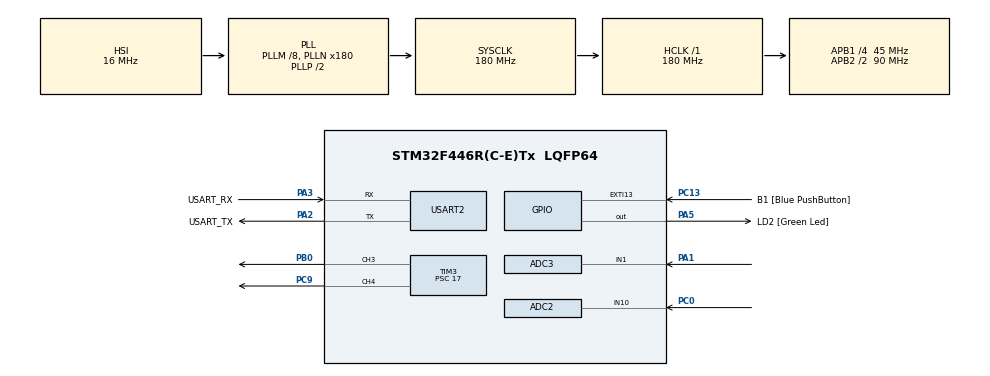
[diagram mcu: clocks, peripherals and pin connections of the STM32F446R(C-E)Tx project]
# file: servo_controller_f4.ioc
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ADC2.Channel-1\#ChannelRegularConversion=ADC_CHANNEL_10
ADC2.ClockPrescaler=ADC_CLOCK_SYNC_PCLK_DIV8
ADC2.NbrOfConversionFlag=1
ADC2.Rank-1\#ChannelRegularConversion=1
ADC2.SamplingTime-1\#ChannelRegularConversion=ADC_SAMPLETIME_480CYCLES
ADC3.Channel-1\#ChannelRegularConversion=ADC_CHANNEL_1
ADC3.ClockPrescaler=ADC_CLOCK_SYNC_PCLK_DIV8
ADC3.NbrOfConversion=1
ADC3.NbrOfConversionFlag=1
ADC3.Rank-1\#ChannelRegularConversion=1
ADC3.SamplingTime-1\#ChannelRegularConversion=ADC_SAMPLETIME_480CYCLES
Mcu.Family=STM32F4
Mcu.Name=STM32F446R(C-E)Tx
Mcu.Package=LQFP64
NVIC.PriorityGroup=NVIC_PRIORITYGROUP_0
PA1.Signal=ADCx_IN1
PA13.GPIO_Label=TMS
PA13.Mode=Serial_Wire
PA13.Signal=SYS_JTMS-SWDIO
PA14.GPIO_Label=TCK
PA14.Mode=Serial_Wire
PA14.Signal=SYS_JTCK-SWCLK
PA2.GPIO_Label=USART_TX
PA2.Mode=Asynchronous
PA2.Signal=USART2_TX
PA3.GPIO_Label=USART_RX
PA3.Mode=Asynchronous
PA3.Signal=USART2_RX
PA5.GPIO_Label=LD2 [Green Led]
PA5.Signal=GPIO_Output
PB0.Signal=S_TIM3_CH3
PB3.GPIO_Label=SWO
PB3.Signal=SYS_JTDO-SWO
PC0.Signal=ADCx_IN10
PC13.GPIO_Label=B1 [Blue PushButton]
PC13.GPIO_ModeDefaultEXTI=GPIO_MODE_IT_FALLING
PC13.Signal=GPXTI13
PC14-OSC32_IN.Mode=LSE-External-Oscillator
PC14-OSC32_IN.Signal=RCC_OSC32_IN
PC15-OSC32_OUT.Mode=LSE-External-Oscillator
PC15-OSC32_OUT.Signal=RCC_OSC32_OUT
PC9.Signal=S_TIM3_CH4
PH0-OSC_IN.Mode=HSE-External-Oscillator
PH0-OSC_IN.Signal=RCC_OSC_IN
PH1-OSC_OUT.Mode=HSE-External-Oscillator
PH1-OSC_OUT.Signal=RCC_OSC_OUT
ProjectManager.HeapSize=0x200
ProjectManager.StackSize=0x400
ProjectManager.TargetToolchain=STM32CubeIDE
RCC.48MHZClocksFreq_Value=84000000
RCC.AHBFreq_Value=180000000
RCC.APB1CLKDivider=RCC_HCLK_DIV4
RCC.APB1Freq_Value=45000000
RCC.APB1TimFreq_Value=90000000
RCC.APB2CLKDivider=RCC_HCLK_DIV2
RCC.APB2Freq_Value=90000000
RCC.APB2TimFreq_Value=180000000
RCC.CortexFreq_Value=180000000
RCC.FLatency-AdvancedSettings=FLASH_LATENCY_5
RCC.HCLKFreq_Value=180000000
RCC.HSE_VALUE=8000000
RCC.HSI_VALUE=16000000
RCC.PLLM=8
RCC.PLLN=180
RCC.SYSCLKFreq_VALUE=180000000
RCC.SYSCLKSource=RCC_SYSCLKSOURCE_PLLCLK
RCC.USBFreq_Value=180000000
RCC.VCOOutputFreq_Value=360000000
SH.ADCx_IN1.0=ADC3_IN1,IN1
SH.ADCx_IN10.0=ADC2_IN10,IN10
SH.S_TIM3_CH3.0=TIM3_CH3,PWM Generation3 CH3
SH.S_TIM3_CH4.0=TIM3_CH4,PWM Generation4 CH4
TIM3.Channel-PWM\ Generation3\ CH3=TIM_CHANNEL_3
TIM3.Channel-PWM\ Generation4\ CH4=TIM_CHANNEL_4
TIM3.Period=9999
TIM3.Prescaler=17
USART2.VirtualMode=VM_ASYNC
board=NUCLEO-F446RE

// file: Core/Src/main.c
/* USER CODE BEGIN Header */
/**
  ******************************************************************************
  * @file           : main.c
  * @brief          : Main program body
  ******************************************************************************
  * @attention
  *
  * <h2><center>&copy; Copyright (c) 2020 STMicroelectronics.
  * All rights reserved.</center></h2>
  *
  * This software component is licensed by ST under BSD 3-Clause license,
  * the "License"; You may not use this file except in compliance with the
  * License. You may obtain a copy of the License at:
  *                        opensource.org/licenses/BSD-3-Clause
  *
  ******************************************************************************
  */
/* USER CODE END Header */

#include "main.h"

/* USER CODE BEGIN Includes */

#include <string.h>
#include <stdio.h>
#include <math.h>
#include <stdlib.h>

#include "pid_controller.h"

/* USER CODE END Includes */

ADC_HandleTypeDef hadc2;
ADC_HandleTypeDef hadc3;

TIM_HandleTypeDef htim3;

UART_HandleTypeDef huart2;

/* USER CODE BEGIN PV */

char uart_msg[300];

uint16_t PomiarADC_motor_trimmer;
uint16_t PomiarADC_Servo_potentiometer;

// set and reached servo angle variable
uint16_t set_servo_angle = 0; // 0 - 180 deg
uint16_t reached_servo_angle = 0;

// pid controller struct
PIDControl pid_controller;

/* USER CODE END PV */

void SystemClock_Config(void);
static void MX_GPIO_Init(void);
static void MX_USART2_UART_Init(void);
static void MX_TIM3_Init(void);
static void MX_ADC2_Init(void);
static void MX_ADC3_Init(void);

int main(void)
{

  /* MCU Configuration--------------------------------------------------------*/

  /* Reset of all peripherals, Initializes the Flash interface and the Systick. */
  HAL_Init();

  /* Configure the system clock */
  SystemClock_Config();

  /* Initialize all configured peripherals */
  MX_GPIO_Init();
  MX_USART2_UART_Init();
  MX_TIM3_Init();
  MX_ADC2_Init();
  MX_ADC3_Init();
  /* USER CODE BEGIN 2 */

  // start adc to get trimmer motor control
  HAL_ADC_Start(&hadc3);

  // potentiometer servo adc start
  HAL_ADC_Start(&hadc2);

  // start pwm motor first direction
  HAL_TIM_PWM_Start(&htim3, TIM_CHANNEL_3);

  // start pwm motor reverse direction
  HAL_TIM_PWM_Start(&htim3, TIM_CHANNEL_4);

  // set defult duty value
  TIM3->CCR3 = 0;
  TIM3->CCR4 = 0;

  /* USER CODE END 2 */

  /* Infinite loop */
  /* USER CODE BEGIN WHILE */
  while (1)
  {
	    // poll for adc servo potentiometer
		if (HAL_ADC_PollForConversion(&hadc2, 10) == HAL_OK) {

			// get servo position form servo potentiometer
			PomiarADC_Servo_potentiometer = HAL_ADC_GetValue(&hadc2);
			HAL_ADC_Start(&hadc2);

			// calculate reached angle
			reached_servo_angle = 180.0 * (((float) PomiarADC_Servo_potentiometer - 300.0) / 3350.0);

		}

//		  // check if we are in range of servo motion
//		  if((PomiarADC_Servo_potentiometer < 300) || (PomiarADC_Servo_potentiometer > 3650)){
//
//			  sprintf(uart_msg, "Servo ERROR!!!\r\n");
//			  HAL_UART_Transmit(&huart2, (uint8_t*) uart_msg, strlen(uart_msg), 10);
//
//			  // stop servo motor
//			  TIM3->CCR4 = 0;
//			  TIM3->CCR3 = 0;
//
//
//			  continue;
//
//		  }

	    // poll for adc adc control trimmer value
		if (HAL_ADC_PollForConversion(&hadc3, 10) == HAL_OK) {

			// get control trimmer adc value
			PomiarADC_motor_trimmer = HAL_ADC_GetValue(&hadc3);
			HAL_ADC_Start(&hadc3);

			set_servo_angle = 180.0 * ((float) PomiarADC_motor_trimmer / 4095.0);

//				sprintf(uart_msg, "Servo reached angle: %d | Trimmer set angle: %d\r\n", reached_servo_angle, set_servo_angle);
//			    HAL_UART_Transmit(&huart2, (uint8_t*) uart_msg, strlen(uart_msg), 10);

		}

		/**************** PID controller ****************************/

		// init pid controller
		PIDInit(&pid_controller, 2.71, 27.1, 0, 0.001, -10000, 10000, AUTOMATIC, DIRECT);

		// pid controller implementation
		float gain = 1000;

		int16_t e = 0; // uchyb
		float sterowanie = 0; // wartosc wypelnienia pwm do sterowania

		const float Kp = 2.71;
		const float Ki = 27.1;

		// closed loop control
		if (set_servo_angle != reached_servo_angle) {

			// calculate uchyb
//			e = (set_servo_angle - reached_servo_angle);

//			sterowanie = gain * e; // proste sterowanie wzmocnieniem

			// set set value
			PIDSetpointSet(&pid_controller, (float)set_servo_angle);

			// set reached servo angle
			PIDInputSet(&pid_controller, (float)reached_servo_angle);

			//compute pid control value
			PIDCompute(&pid_controller);

			// get pid control value
			float pid_control_value = PIDOutputGet(&pid_controller);

			sterowanie = gain*pid_control_value; // proste sterowanie wzmocnieniem

			sprintf(uart_msg, "%d\t%d\t%f\r\n", reached_servo_angle, set_servo_angle, sterowanie);
			HAL_UART_Transmit(&huart2, (uint8_t*) uart_msg, strlen(uart_msg), 10);

			if (sterowanie > 0) {
				TIM3->CCR3 = 0;
				if(abs(sterowanie) > 10000) { sterowanie = 10000; }
				TIM3->CCR4 = abs(sterowanie);
			} else if (sterowanie < 0) {
				if(abs(sterowanie) > 10000) { sterowanie = 10000; }
				TIM3->CCR3 = abs(sterowanie);
				TIM3->CCR4 = 0;
			}

		} else {
			TIM3->CCR3 = 0;
			TIM3->CCR4 = 0;
		}

		/**************** PID controller ****************************/

	    HAL_GPIO_TogglePin(LD2_GPIO_Port, LD2_Pin);

	    // control time interval
		HAL_Delay(1);

    /* USER CODE END WHILE */

  }
}

void SystemClock_Config(void)
{
  RCC_OscInitTypeDef RCC_OscInitStruct = {0};
  RCC_ClkInitTypeDef RCC_ClkInitStruct = {0};

  /** Configure the main internal regulator output voltage
  */
  __HAL_RCC_PWR_CLK_ENABLE();
  __HAL_PWR_VOLTAGESCALING_CONFIG(PWR_REGULATOR_VOLTAGE_SCALE1);
  /** Initializes the CPU, AHB and APB busses clocks
  */
  RCC_OscInitStruct.OscillatorType = RCC_OSCILLATORTYPE_HSI;
  RCC_OscInitStruct.HSIState = RCC_HSI_ON;
  RCC_OscInitStruct.HSICalibrationValue = RCC_HSICALIBRATION_DEFAULT;
  RCC_OscInitStruct.PLL.PLLState = RCC_PLL_ON;
  RCC_OscInitStruct.PLL.PLLSource = RCC_PLLSOURCE_HSI;
  RCC_OscInitStruct.PLL.PLLM = 8;
  RCC_OscInitStruct.PLL.PLLN = 180;
  RCC_OscInitStruct.PLL.PLLP = RCC_PLLP_DIV2;
  RCC_OscInitStruct.PLL.PLLQ = 2;
  RCC_OscInitStruct.PLL.PLLR = 2;
  if (HAL_RCC_OscConfig(&RCC_OscInitStruct) != HAL_OK)
  {
    Error_Handler();
  }
  /** Activate the Over-Drive mode
  */
  if (HAL_PWREx_EnableOverDrive() != HAL_OK)
  {
    Error_Handler();
  }
  /** Initializes the CPU, AHB and APB busses clocks
  */
  RCC_ClkInitStruct.ClockType = RCC_CLOCKTYPE_HCLK|RCC_CLOCKTYPE_SYSCLK
                              |RCC_CLOCKTYPE_PCLK1|RCC_CLOCKTYPE_PCLK2;
  RCC_ClkInitStruct.SYSCLKSource = RCC_SYSCLKSOURCE_PLLCLK;
  RCC_ClkInitStruct.AHBCLKDivider = RCC_SYSCLK_DIV1;
  RCC_ClkInitStruct.APB1CLKDivider = RCC_HCLK_DIV4;
  RCC_ClkInitStruct.APB2CLKDivider = RCC_HCLK_DIV2;

  if (HAL_RCC_ClockConfig(&RCC_ClkInitStruct, FLASH_LATENCY_5) != HAL_OK)
  {
    Error_Handler();
  }
}

static void MX_ADC2_Init(void)
{

  ADC_ChannelConfTypeDef sConfig = {0};

  /** Configure the global features of the ADC (Clock, Resolution, Data Alignment and number of conversion)
  */
  hadc2.Instance = ADC2;
  hadc2.Init.ClockPrescaler = ADC_CLOCK_SYNC_PCLK_DIV8;
  hadc2.Init.Resolution = ADC_RESOLUTION_12B;
  hadc2.Init.ScanConvMode = DISABLE;
  hadc2.Init.ContinuousConvMode = DISABLE;
  hadc2.Init.DiscontinuousConvMode = DISABLE;
  hadc2.Init.ExternalTrigConvEdge = ADC_EXTERNALTRIGCONVEDGE_NONE;
  hadc2.Init.ExternalTrigConv = ADC_SOFTWARE_START;
  hadc2.Init.DataAlign = ADC_DATAALIGN_RIGHT;
  hadc2.Init.NbrOfConversion = 1;
  hadc2.Init.DMAContinuousRequests = DISABLE;
  hadc2.Init.EOCSelection = ADC_EOC_SINGLE_CONV;
  if (HAL_ADC_Init(&hadc2) != HAL_OK)
  {
    Error_Handler();
  }
  /** Configure for the selected ADC regular channel its corresponding rank in the sequencer and its sample time.
  */
  sConfig.Channel = ADC_CHANNEL_10;
  sConfig.Rank = 1;
  sConfig.SamplingTime = ADC_SAMPLETIME_480CYCLES;
  if (HAL_ADC_ConfigChannel(&hadc2, &sConfig) != HAL_OK)
  {
    Error_Handler();
  }

}

static void MX_ADC3_Init(void)
{

  ADC_ChannelConfTypeDef sConfig = {0};

  /** Configure the global features of the ADC (Clock, Resolution, Data Alignment and number of conversion)
  */
  hadc3.Instance = ADC3;
  hadc3.Init.ClockPrescaler = ADC_CLOCK_SYNC_PCLK_DIV8;
  hadc3.Init.Resolution = ADC_RESOLUTION_12B;
  hadc3.Init.ScanConvMode = DISABLE;
  hadc3.Init.ContinuousConvMode = DISABLE;
  hadc3.Init.DiscontinuousConvMode = DISABLE;
  hadc3.Init.ExternalTrigConvEdge = ADC_EXTERNALTRIGCONVEDGE_NONE;
  hadc3.Init.ExternalTrigConv = ADC_SOFTWARE_START;
  hadc3.Init.DataAlign = ADC_DATAALIGN_RIGHT;
  hadc3.Init.NbrOfConversion = 1;
  hadc3.Init.DMAContinuousRequests = DISABLE;
  hadc3.Init.EOCSelection = ADC_EOC_SINGLE_CONV;
  if (HAL_ADC_Init(&hadc3) != HAL_OK)
  {
    Error_Handler();
  }
  /** Configure for the selected ADC regular channel its corresponding rank in the sequencer and its sample time.
  */
  sConfig.Channel = ADC_CHANNEL_1;
  sConfig.Rank = 1;
  sConfig.SamplingTime = ADC_SAMPLETIME_480CYCLES;
  if (HAL_ADC_ConfigChannel(&hadc3, &sConfig) != HAL_OK)
  {
    Error_Handler();
  }

}

static void MX_TIM3_Init(void)
{

  TIM_MasterConfigTypeDef sMasterConfig = {0};
  TIM_OC_InitTypeDef sConfigOC = {0};

  htim3.Instance = TIM3;
  htim3.Init.Prescaler = 17;
  htim3.Init.CounterMode = TIM_COUNTERMODE_UP;
  htim3.Init.Period = 9999;
  htim3.Init.ClockDivision = TIM_CLOCKDIVISION_DIV1;
  htim3.Init.AutoReloadPreload = TIM_AUTORELOAD_PRELOAD_DISABLE;
  if (HAL_TIM_PWM_Init(&htim3) != HAL_OK)
  {
    Error_Handler();
  }
  sMasterConfig.MasterOutputTrigger = TIM_TRGO_RESET;
  sMasterConfig.MasterSlaveMode = TIM_MASTERSLAVEMODE_DISABLE;
  if (HAL_TIMEx_MasterConfigSynchronization(&htim3, &sMasterConfig) != HAL_OK)
  {
    Error_Handler();
  }
  sConfigOC.OCMode = TIM_OCMODE_PWM1;
  sConfigOC.Pulse = 0;
  sConfigOC.OCPolarity = TIM_OCPOLARITY_HIGH;
  sConfigOC.OCFastMode = TIM_OCFAST_DISABLE;
  if (HAL_TIM_PWM_ConfigChannel(&htim3, &sConfigOC, TIM_CHANNEL_3) != HAL_OK)
  {
    Error_Handler();
  }
  if (HAL_TIM_PWM_ConfigChannel(&htim3, &sConfigOC, TIM_CHANNEL_4) != HAL_OK)
  {
    Error_Handler();
  }
  HAL_TIM_MspPostInit(&htim3);

}

static void MX_USART2_UART_Init(void)
{

  huart2.Instance = USART2;
  huart2.Init.BaudRate = 115200;
  huart2.Init.WordLength = UART_WORDLENGTH_8B;
  huart2.Init.StopBits = UART_STOPBITS_1;
  huart2.Init.Parity = UART_PARITY_NONE;
  huart2.Init.Mode = UART_MODE_TX_RX;
  huart2.Init.HwFlowCtl = UART_HWCONTROL_NONE;
  huart2.Init.OverSampling = UART_OVERSAMPLING_16;
  if (HAL_UART_Init(&huart2) != HAL_OK)
  {
    Error_Handler();
  }

}

static void MX_GPIO_Init(void)
{
  GPIO_InitTypeDef GPIO_InitStruct = {0};

  /* GPIO Ports Clock Enable */
  __HAL_RCC_GPIOC_CLK_ENABLE();
  __HAL_RCC_GPIOH_CLK_ENABLE();
  __HAL_RCC_GPIOA_CLK_ENABLE();
  __HAL_RCC_GPIOB_CLK_ENABLE();

  /*Configure GPIO pin Output Level */
  HAL_GPIO_WritePin(LD2_GPIO_Port, LD2_Pin, GPIO_PIN_RESET);

  /*Configure GPIO pin : B1_Pin */
  GPIO_InitStruct.Pin = B1_Pin;
  GPIO_InitStruct.Mode = GPIO_MODE_IT_FALLING;
  GPIO_InitStruct.Pull = GPIO_NOPULL;
  HAL_GPIO_Init(B1_GPIO_Port, &GPIO_InitStruct);

  /*Configure GPIO pin : LD2_Pin */
  GPIO_InitStruct.Pin = LD2_Pin;
  GPIO_InitStruct.Mode = GPIO_MODE_OUTPUT_PP;
  GPIO_InitStruct.Pull = GPIO_NOPULL;
  GPIO_InitStruct.Speed = GPIO_SPEED_FREQ_LOW;
  HAL_GPIO_Init(LD2_GPIO_Port, &GPIO_InitStruct);

}

void Error_Handler(void)
{
}

/************************ (C) COPYRIGHT STMicroelectronics *****END OF FILE****/
